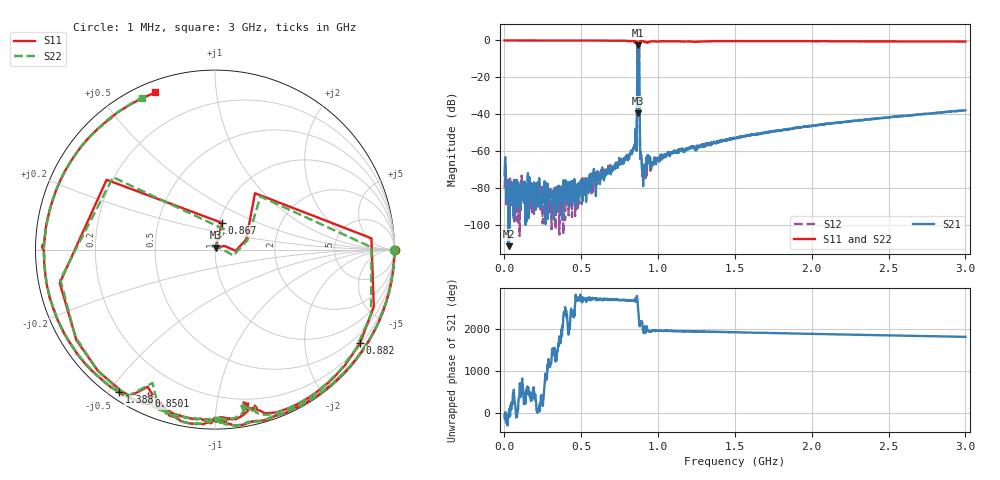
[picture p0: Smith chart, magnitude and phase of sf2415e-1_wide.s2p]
!Agilent Technologies,E5071C,MY46104547,A.08.12
!Date: Thu Feb 23 09:46:05 2017
!Data & Calibration Information:
!Freq	S11:SOLT2(ON)	S21:SOLT2(ON)	S12:SOLT2(ON)	S22:SOLT2(ON)
# Hz S RI R 50
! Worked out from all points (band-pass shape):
!   1601 points, 1 MHz to 3 GHz, reference 50 ohm
!   highest |S21| = -2.62 dB at 870.7 MHz (marker M1); lowest = -111.4 dB at 27.24 MHz (marker M2)
!   |S21| within 3 dB of the highest: 866.7 MHz to 875.4 MHz (8.713 MHz wide, 1 % of centre)
!   lowest |S11| = -39.5 dB at 868.8 MHz (marker M3), VSWR 1.02, Z = 50.3 + j1.01 ohm
!   |S11| at or under -10 dB: 866.1 MHz to 875.8 MHz (9.752 MHz wide, 1.12 % of centre)
!   |S22| runs from -32.9 to 0.0 dB; largest |S21 - S12| = 0.001
!   S11 on the Smith chart (normalised r, x): 1 MHz: open; 850.1 MHz: 0.08, -0.64; 867 MHz: 1.03, +0.31; 882 MHz: 0.24, -3.38; 1.388 GHz: 0.03, -0.53; 3 GHz: 0.05, +0.69
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1000000  1 -0.00202  0.000123 -0.000184  1.42e-05 -9.76e-05  0.9997 -0.00287
2.724125e7  0.9979 -0.0476  2.69e-06 -2.94e-07  -1.71e-06 4.84e-05  0.999 -0.0491
5.014581e8  0.6418 -0.7582  -9.06e-05 -0.000129  -0.000118 3.27e-06  0.6266 -0.7696
8.032325e8  0.0625 -0.9645  -0.000559 9.45e-05  -0.000709 -2.73e-05  0.046 -0.9613
8.444688e8  -0.2538 -0.9252  -0.00126 0.000556  -0.00114 0.000544  -0.2677 -0.9183
8.500919e8  -0.3707 -0.8143  -0.00131 -0.00102  -0.00126 -0.000975  -0.3698 -0.8221
8.613381e8  -0.7723 -0.504  0.00134 -0.006  0.00134 -0.00603  -0.7773 -0.4869
8.669612e8  0.0394 0.1488  -0.1854 0.5979  -0.1855 0.5972  0.0575 0.11
8.688356e8  0.00348 0.01  0.7186 0.1472  0.7189 0.1476  0.00624 0.0216
8.7071e8  0.0524 0.0202  0.3265 -0.6639  0.3266 -0.6636  0.078 -0.0191
8.782075e8  0.8713 0.0632  0.0344 -0.0591  0.0344 -0.0588  0.872 0.0131
8.819562e8  0.8081 -0.5212  8.17e-05 -0.00187  5.06e-05 -0.00192  0.7832 -0.5565
8.950769e8  0.4134 -0.8828  0.000287 0.000178  0.000343 0.00018  0.3835 -0.896
9.063231e8  0.2365 -0.8939  -9.38e-05 0.000297  1.68e-06 0.000337  0.224 -0.8793
9.344388e8  0.1703 -0.873  -0.00069 -3.57e-05  -0.000747 1.76e-06  0.1551 -0.8782
9.588056e8  0.1258 -0.9384  -0.000389 7.22e-05  -0.000426 6.3e-05  0.0923 -0.9396
1.001916e9  0.0201 -0.9435  -0.00061 0.000201  -0.000532 0.000193  -0.00221 -0.9424
1.388038e9  -0.534 -0.7953  -0.00136 0.0012  -0.00138 0.00116  -0.5473 -0.7864
1.5005e9  -0.6652 -0.6931  -0.00143 0.00169  -0.00148 0.00175  -0.6724 -0.6861
2.000958e9  -0.9505 -0.0911  -0.000229 0.00492  -0.000151 0.00496  -0.9484 -0.1054
2.501416e9  -0.7945 0.5058  0.00468 0.0069  0.00471 0.00683  -0.8193 0.4654
3e9  -0.3323 0.876  0.012 0.00441  0.0121 0.00447  -0.4085 0.8468
